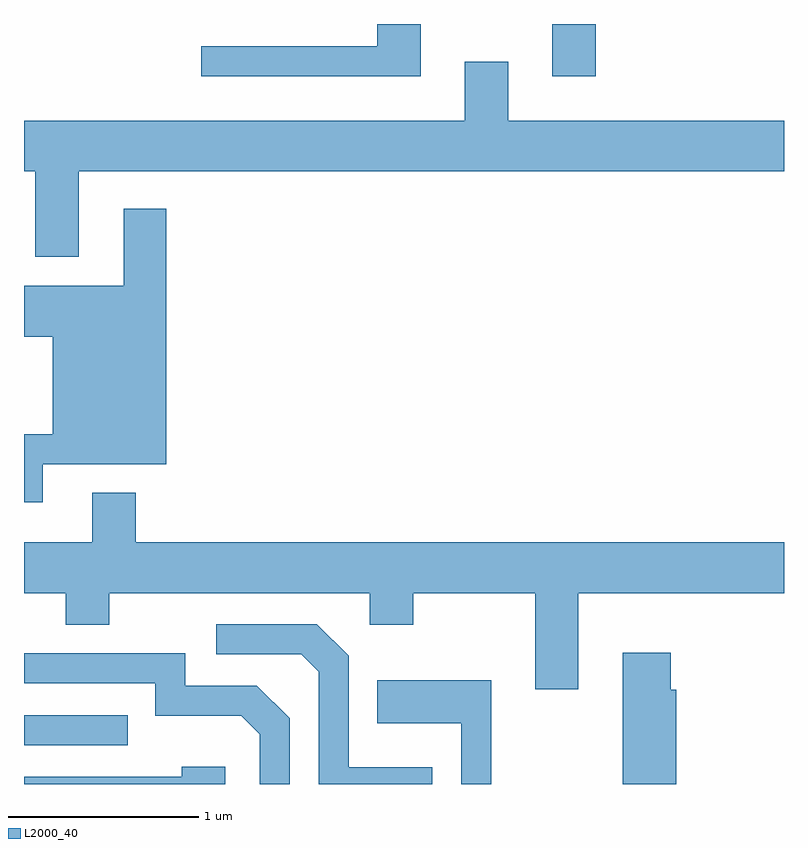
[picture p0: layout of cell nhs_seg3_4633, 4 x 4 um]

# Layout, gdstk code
import gdstk
lib = gdstk.Library(unit=1e-6, precision=1e-09)
def R(c, l, rs):  # rectangles x0, y0, x1, y1
    for r in rs: c.add(gdstk.rectangle(r[:2], r[2:], *l))
def P(c, l, *ps):  # polygons
    for p in ps: c.add(gdstk.Polygon(p, *l))
L2000_40 = (2000, 40)

nhs_seg3_4633 = lib.new_cell('nhs_seg3_4633')
R(nhs_seg3_4633, L2000_40, [(321.611,1134.096,322.158,1134.254), (324.391,1137.616,324.619,1137.892)])
P(nhs_seg3_4633, L2000_40, [(323.699,1137.892),(323.471,1137.892),(323.471,1137.774),(322.543,1137.774),(322.543,1137.616),(323.699,1137.616)],
  [(321.899,1137.116),(325.611,1137.116),(325.611,1137.384),(324.159,1137.384),(324.159,1137.694),(323.931,1137.694),(323.931,1137.384),(321.611,1137.384),(321.611,1137.116),(321.671,1137.116),(321.671,1136.666),(321.899,1136.666)],
  [(321.709,1135.576),(322.359,1135.576),(322.359,1136.919),(322.136,1136.919),(322.136,1136.514),(321.611,1136.514),(321.611,1136.246),(321.761,1136.246),(321.761,1135.734),(321.611,1135.734),(321.611,1135.376),(321.709,1135.376)],
  [(322.059,1134.896),(323.431,1134.896),(323.431,1134.731),(323.659,1134.731),(323.659,1134.896),(324.301,1134.896),(324.301,1134.391),(324.529,1134.391),(324.529,1134.896),(325.611,1134.896),(325.611,1135.164),(322.199,1135.164),(322.199,1135.424),(321.971,1135.424),(321.971,1135.164),(321.611,1135.164),(321.611,1134.896),(321.831,1134.896),(321.831,1134.731),(322.059,1134.731)],
  [(323.759,1133.979),(323.319,1133.979),(323.319,1134.567),(323.152,1134.734),(322.623,1134.734),(322.623,1134.576),(323.069,1134.576),(323.161,1134.484),(323.161,1133.892),(323.759,1133.892)],
  [(325.044,1134.389),(325.014,1134.389),(325.014,1134.584),(324.761,1134.584),(324.761,1133.892),(325.044,1133.892)],
  [(323.009,1134.237),(322.837,1134.409),(322.459,1134.409),(322.459,1134.579),(321.611,1134.579),(321.611,1134.421),(322.301,1134.421),(322.301,1134.251),(322.754,1134.251),(322.851,1134.154),(322.851,1133.892),(323.009,1133.892)],
  [(324.069,1134.439),(323.471,1134.439),(323.471,1134.211),(323.911,1134.211),(323.911,1133.892),(324.069,1133.892)],
  [(322.669,1133.984),(322.441,1133.984),(322.441,1133.929),(321.611,1133.929),(321.611,1133.892),(322.669,1133.892)])

lib.write_gds('nhs_seg3_4633.gds')
